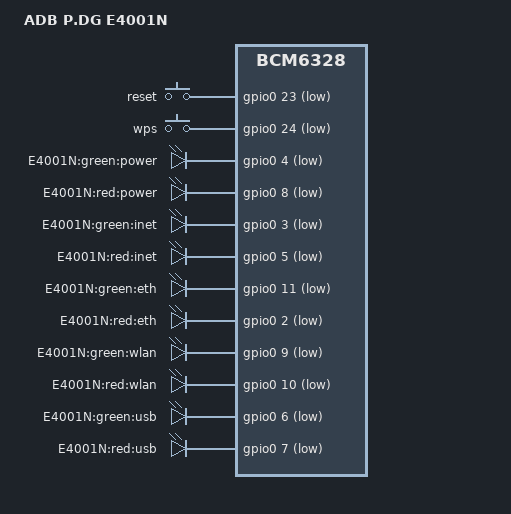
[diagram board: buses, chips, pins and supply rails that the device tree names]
/dts-v1/;

#include "bcm6328.dtsi"

#include <dt-bindings/input/input.h>

/ {
	model = "ADB P.DG E4001N";
	compatible = "adb,e4001n", "brcm,bcm6328";

	gpio-keys-polled {
		compatible = "gpio-keys-polled";
		#address-cells = <1>;
		#size-cells = <0>;
		poll-interval = <20>;
		debounce-interval = <60>;

		reset {
			label = "reset";
			gpios = <&gpio0 23 1>;
			linux,code = <KEY_RESTART>;
		};
		wps {
			label = "wps";
			gpios = <&gpio0 24 1>;
			linux,code = <KEY_WLAN>;
		};
	};

	gpio-leds {
		compatible = "gpio-leds";

		power_green {
			label = "E4001N:green:power";
			gpios = <&gpio0 4 1>;
			default-state = "on";
		};
		power_red {
			label = "E4001N:red:power";
			gpios = <&gpio0 8 1>;
		};

		inet_green {
			label = "E4001N:green:inet";
			gpios = <&gpio0 3 1>;
		};
		inet_red {
			label = "E4001N:red:inet";
			gpios = <&gpio0 5 1>;
		};

		eth_green {
			label = "E4001N:green:eth";
			gpios = <&gpio0 11 1>;
		};
		eth_red {
			label = "E4001N:red:eth";
			gpios = <&gpio0 2 1>;
		};

		wlan_green {
			label = "E4001N:green:wlan";
			gpios = <&gpio0 9 1>;
		};
		wlan_red {
			label = "E4001N:red:wlan";
			gpios = <&gpio0 10 1>;
		};

		usb_green {
			label = "E4001N:green:usb";
			gpios = <&gpio0 6 1>;
		};
		usb_red {
			label = "E4001N:red:usb";
			gpios = <&gpio0 7 1>;
		};
	};
};
